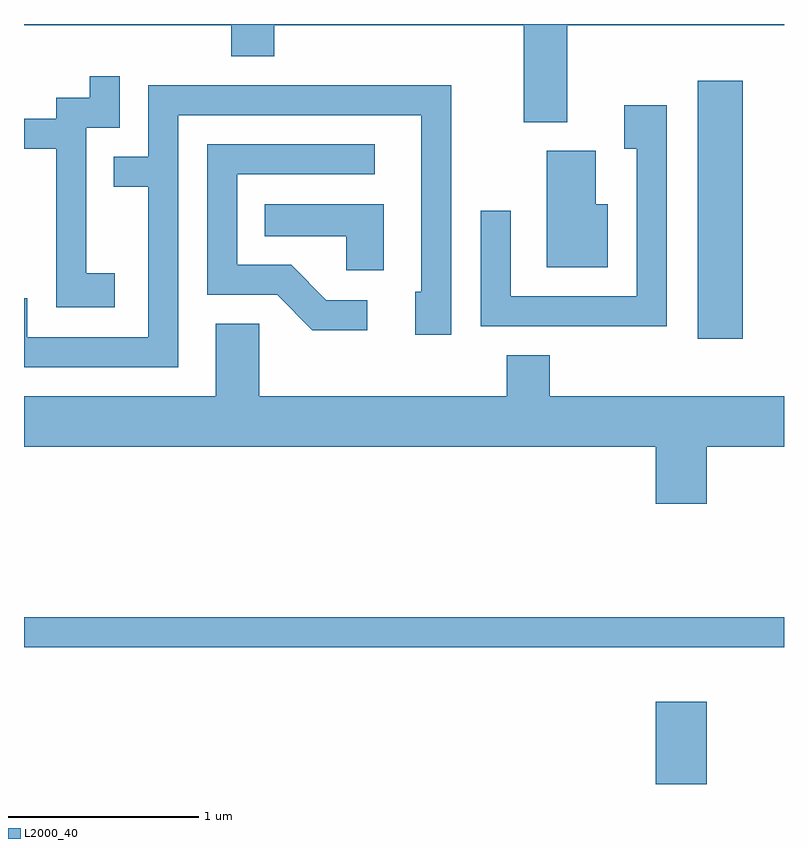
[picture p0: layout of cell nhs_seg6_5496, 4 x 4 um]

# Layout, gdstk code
import gdstk
lib = gdstk.Library(unit=1e-6, precision=1e-09)
def R(c, l, rs):  # rectangles x0, y0, x1, y1
    for r in rs: c.add(gdstk.rectangle(r[:2], r[2:], *l))
def P(c, l, *ps):  # polygons
    for p in ps: c.add(gdstk.Polygon(p, *l))
L2000_40 = (2000, 40)

nhs_seg6_5496 = lib.new_cell('nhs_seg6_5496')
R(nhs_seg6_5496, L2000_40, [(354.936,1648.162,355.204,1648.594), (351.611,1648.881,355.611,1649.039), (355.156,1650.506,355.394,1651.864)])
P(nhs_seg6_5496, L2000_40, [(354.469,1652.156),(355.611,1652.156),(355.611,1652.162),(351.611,1652.162),(351.611,1652.156),(352.701,1652.156),(352.701,1651.991),(352.929,1651.991),(352.929,1652.156),(354.241,1652.156),(354.241,1651.646),(354.469,1651.646)],
  [(352.089,1650.849),(351.939,1650.849),(351.939,1651.616),(352.114,1651.616),(352.114,1651.888),(351.956,1651.888),(351.956,1651.774),(351.781,1651.774),(351.781,1651.664),(351.611,1651.664),(351.611,1651.506),(351.781,1651.506),(351.781,1650.671),(352.089,1650.671)],
  [(352.424,1651.681),(353.701,1651.681),(353.701,1650.754),(353.671,1650.754),(353.671,1650.526),(353.859,1650.526),(353.859,1651.839),(352.266,1651.839),(352.266,1651.464),(352.083,1651.464),(352.083,1651.306),(352.266,1651.306),(352.266,1650.514),(351.629,1650.514),(351.629,1650.719),(351.611,1650.719),(351.611,1650.356),(352.424,1650.356)],
  [(354.994,1651.734),(354.771,1651.734),(354.771,1651.506),(354.836,1651.506),(354.836,1650.729),(354.174,1650.729),(354.174,1651.178),(354.016,1651.178),(354.016,1650.571),(354.994,1650.571)],
  [(353.418,1650.709),(353.202,1650.709),(353.017,1650.894),(352.734,1650.894),(352.734,1651.371),(353.458,1651.371),(353.458,1651.529),(352.576,1651.529),(352.576,1650.736),(352.944,1650.736),(353.129,1650.551),(353.418,1650.551)],
  [(354.684,1651.214),(354.619,1651.214),(354.619,1651.494),(354.361,1651.494),(354.361,1650.881),(354.684,1650.881)],
  [(353.504,1651.214),(352.878,1651.214),(352.878,1651.046),(353.306,1651.046),(353.306,1650.866),(353.504,1650.866)],
  [(355.204,1649.936),(355.611,1649.936),(355.611,1650.204),(354.379,1650.204),(354.379,1650.419),(354.151,1650.419),(354.151,1650.204),(352.849,1650.204),(352.849,1650.584),(352.621,1650.584),(352.621,1650.204),(351.611,1650.204),(351.611,1649.936),(354.936,1649.936),(354.936,1649.636),(355.204,1649.636)])

lib.write_gds('nhs_seg6_5496.gds')
